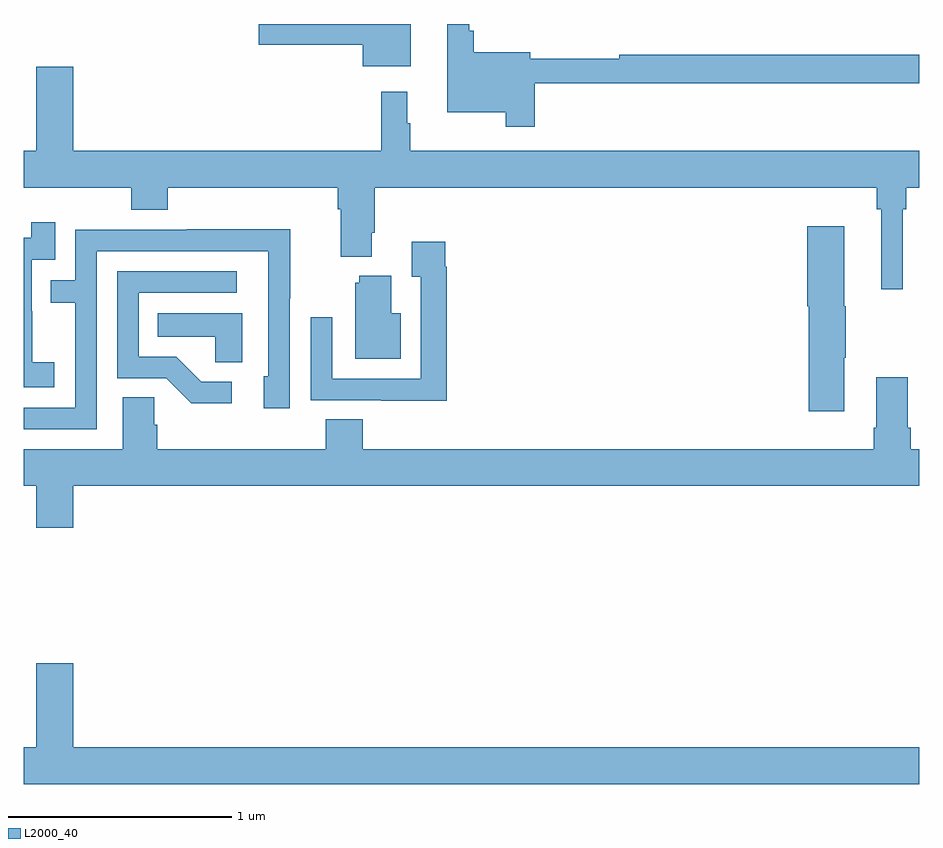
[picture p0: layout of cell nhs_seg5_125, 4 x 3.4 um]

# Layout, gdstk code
import gdstk
lib = gdstk.Library(unit=1e-6, precision=1e-09)
def P(c, l, *ps):  # polygons
    for p in ps: c.add(gdstk.Polygon(p, *l))
L2000_40 = (2000, 40)

nhs_seg5_125 = lib.new_cell('nhs_seg5_125')
P(nhs_seg5_125, L2000_40, [(119.282,882.534),(121,882.534),(121,882.662),(119.659,882.662),(119.659,882.644),(119.263,882.644),(119.263,882.673),(119.009,882.673),(119.009,882.769),(118.989,882.769),(118.989,882.799),(118.892,882.799),(118.892,882.404),(119.154,882.404),(119.154,882.339),(119.282,882.339)],
  [(118.729,882.799),(118.05,882.799),(118.05,882.706),(118.514,882.706),(118.514,882.611),(118.729,882.611)],
  [(120.927,881.972),(120.941,881.972),(120.941,882.068),(121,882.068),(121,882.232),(118.726,882.232),(118.726,882.356),(118.714,882.356),(118.714,882.496),(118.597,882.496),(118.597,882.232),(117.22,882.232),(117.22,882.607),(117.056,882.607),(117.056,882.232),(117,882.232),(117,882.068),(117.479,882.068),(117.479,881.969),(117.644,881.969),(117.644,882.068),(118.403,882.068),(118.403,881.972),(118.415,881.972),(118.415,881.759),(118.555,881.759),(118.555,881.866),(118.568,881.866),(118.568,882.068),(120.811,882.068),(120.811,881.972),(120.83,881.972),(120.83,881.613),(120.927,881.613)],
  [(117.136,881.287),(117.038,881.287),(117.038,881.516),(117.036,881.516),(117.036,881.745),(117.141,881.745),(117.141,881.914),(117.033,881.914),(117.033,881.844),(117,881.844),(117,881.177),(117.136,881.177)],
  [(120.664,881.308),(120.672,881.308),(120.672,881.538),(120.664,881.538),(120.664,881.896),(120.5,881.896),(120.5,881.538),(120.506,881.538),(120.506,881.07),(120.664,881.07)],
  [(117.327,881.784),(118.092,881.784),(118.092,881.226),(118.073,881.226),(118.073,881.082),(118.188,881.082),(118.188,881.575),(118.191,881.575),(118.191,881.882),(117.727,881.882),(117.727,881.88),(117.231,881.88),(117.231,881.655),(117.121,881.655),(117.121,881.554),(117.231,881.554),(117.231,881.085),(117,881.085),(117,880.989),(117.327,880.989)],
  [(118.889,881.714),(118.882,881.714),(118.882,881.827),(118.733,881.827),(118.733,881.671),(118.773,881.671),(118.773,881.214),(118.377,881.214),(118.377,881.488),(118.281,881.488),(118.281,881.118),(118.597,881.118),(118.597,881.117),(118.889,881.117)],
  [(117.928,881.202),(117.793,881.202),(117.682,881.313),(117.513,881.313),(117.513,881.598),(117.952,881.598),(117.952,881.694),(117.417,881.694),(117.417,881.217),(117.636,881.217),(117.749,881.105),(117.928,881.105)],
  [(118.684,881.506),(118.642,881.506),(118.642,881.674),(118.499,881.674),(118.499,881.643),(118.481,881.643),(118.481,881.303),(118.684,881.303)],
  [(117.976,881.506),(117.598,881.506),(117.598,881.402),(117.855,881.402),(117.855,881.287),(117.976,881.287)],
  [(117.22,880.736),(121,880.736),(121,880.9),(120.962,880.9),(120.962,880.996),(120.949,880.996),(120.949,881.221),(120.809,881.221),(120.809,880.996),(120.797,880.996),(120.797,880.9),(118.514,880.9),(118.514,881.033),(118.349,881.033),(118.349,880.9),(117.596,880.9),(117.596,881.009),(117.582,881.009),(117.582,881.132),(117.443,881.132),(117.443,880.9),(117,880.9),(117,880.736),(117.056,880.736),(117.056,880.548),(117.22,880.548)],
  [(121,879.568),(117.22,879.568),(117.22,879.943),(117.056,879.943),(117.056,879.568),(117,879.568),(117,879.404),(121,879.404)])

lib.write_gds('nhs_seg5_125.gds')
